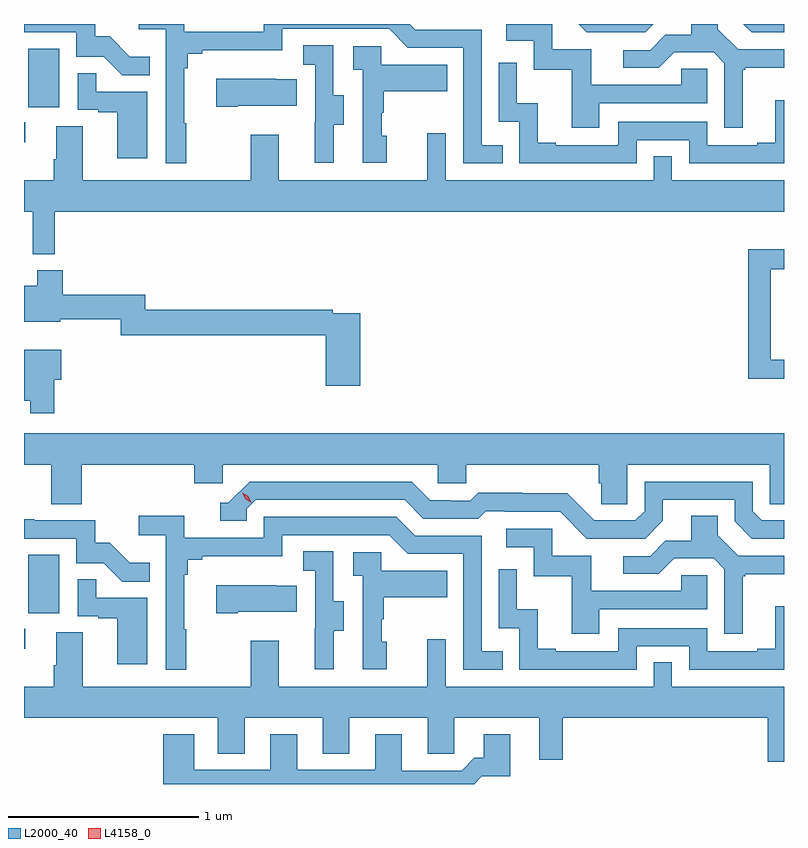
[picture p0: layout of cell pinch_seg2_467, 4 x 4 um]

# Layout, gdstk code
import gdstk
lib = gdstk.Library(unit=1e-6, precision=1e-09)
def R(c, l, rs):  # rectangles x0, y0, x1, y1
    for r in rs: c.add(gdstk.rectangle(r[:2], r[2:], *l))
def P(c, l, *ps):  # polygons
    for p in ps: c.add(gdstk.Polygon(p, *l))
L2000_40 = (2000, 40)
L4158_0 = (4158, 0)

pinch_seg2_467 = lib.new_cell('pinch_seg2_467')
R(pinch_seg2_467, L2000_40, [(920.764,590.724,920.77,590.829), (920.786,590.91,920.95,591.217), (920.764,593.388,920.77,593.493), (920.786,593.574,920.95,593.881)])
P(pinch_seg2_467, L2000_40, [(921.619,593.489),(921.607,593.489),(921.607,593.777),(921.626,593.777),(921.626,593.854),(921.703,593.854),(921.703,593.873),(922.122,593.873),(922.122,593.985),(922.686,593.985),(922.785,593.886),(923.076,593.886),(923.076,593.277),(923.285,593.277),(923.285,593.373),(923.172,593.373),(923.172,593.982),(922.822,593.982),(922.793,594.011),(922.026,594.011),(922.026,593.97),(921.608,593.97),(921.608,594.011),(921.369,594.011),(921.369,593.984),(921.51,593.984),(921.51,593.277),(921.619,593.277)],
  [(924.547,593.769),(924.559,593.769),(924.559,593.78),(924.764,593.78),(924.764,593.877),(924.522,593.877),(924.415,593.984),(924.415,594.011),(924.275,594.011),(924.275,593.954),(924.14,593.954),(924.06,593.874),(923.919,593.874),(923.919,593.781),(924.106,593.781),(924.187,593.862),(924.393,593.862),(924.45,593.805),(924.45,593.466),(924.547,593.466)],
  [(924.077,594.011),(923.683,594.011),(923.727,593.967),(924.033,593.967)],
  [(924.764,594.011),(924.55,594.011),(924.594,593.967),(924.764,593.967)],
  [(921.425,593.839),(921.321,593.839),(921.214,593.946),(921.138,593.946),(921.138,594.011),(920.764,594.011),(920.764,593.967),(921.039,593.967),(921.039,593.838),(921.183,593.838),(921.281,593.74),(921.425,593.74)],
  [(923.791,593.595),(924.36,593.595),(924.36,593.775),(924.223,593.775),(924.223,593.691),(923.749,593.691),(923.749,593.877),(923.544,593.877),(923.544,594.011),(923.301,594.011),(923.301,593.922),(923.448,593.922),(923.448,593.769),(923.647,593.769),(923.647,593.466),(923.791,593.466)],
  [(922.393,593.482),(922.447,593.482),(922.447,593.637),(922.392,593.637),(922.392,593.9),(922.233,593.9),(922.233,593.797),(922.296,593.797),(922.296,593.493),(922.295,593.493),(922.295,593.28),(922.393,593.28)],
  [(922.672,593.424),(922.647,593.424),(922.647,593.543),(922.657,593.543),(922.657,593.657),(922.991,593.657),(922.991,593.797),(922.644,593.797),(922.644,593.895),(922.497,593.895),(922.497,593.771),(922.548,593.771),(922.548,593.28),(922.672,593.28)],
  [(923.988,593.4),(924.264,593.4),(924.264,593.277),(924.764,593.277),(924.764,593.611),(924.719,593.611),(924.719,593.386),(924.623,593.386),(924.623,593.373),(924.36,593.373),(924.36,593.496),(923.892,593.496),(923.892,593.373),(923.563,593.373),(923.563,593.386),(923.468,593.386),(923.468,593.594),(923.358,593.594),(923.358,593.806),(923.262,593.806),(923.262,593.496),(923.37,593.496),(923.37,593.277),(923.988,593.277)],
  [(921.412,593.655),(921.143,593.655),(921.143,593.753),(921.048,593.753),(921.048,593.559),(921.155,593.559),(921.155,593.547),(921.254,593.547),(921.254,593.304),(921.412,593.304)],
  [(921.889,593.582),(922.199,593.582),(922.199,593.719),(922.091,593.719),(922.091,593.722),(921.777,593.722),(921.777,593.575),(921.889,593.575)],
  [(920.927,593.024),(924.764,593.024),(924.764,593.188),(924.174,593.188),(924.174,593.315),(924.078,593.315),(924.078,593.188),(922.983,593.188),(922.983,593.437),(922.886,593.437),(922.886,593.188),(922.105,593.188),(922.105,593.428),(921.958,593.428),(921.958,593.188),(921.073,593.188),(921.073,593.474),(920.933,593.474),(920.933,593.3),(920.921,593.3),(920.921,593.188),(920.764,593.188),(920.764,593.024),(920.81,593.024),(920.81,592.799),(920.927,592.799)],
  [(924.764,592.245),(924.693,592.245),(924.693,592.719),(924.764,592.719),(924.764,592.825),(924.577,592.825),(924.577,592.144),(924.764,592.144)],
  [(922.535,592.488),(922.388,592.488),(922.388,592.508),(921.401,592.508),(921.401,592.585),(920.969,592.585),(920.969,592.714),(920.834,592.714),(920.834,592.633),(920.764,592.633),(920.764,592.445),(920.956,592.445),(920.956,592.456),(921.273,592.456),(921.273,592.372),(922.352,592.372),(922.352,592.107),(922.535,592.107)],
  [(920.924,592.139),(920.959,592.139),(920.959,592.297),(920.764,592.297),(920.764,592.028),(920.796,592.028),(920.796,591.963),(920.924,591.963)],
  [(921.068,591.692),(921.659,591.692),(921.659,591.594),(921.81,591.594),(921.81,591.692),(922.941,591.692),(922.941,591.594),(923.091,591.594),(923.091,591.692),(923.789,591.692),(923.789,591.594),(923.803,591.594),(923.803,591.484),(923.94,591.484),(923.94,591.692),(924.69,591.692),(924.69,591.484),(924.764,591.484),(924.764,591.856),(920.764,591.856),(920.764,591.692),(920.908,591.692),(920.908,591.484),(921.068,591.484)],
  [(924.127,591.397),(924.127,591.507),(924.504,591.507),(924.504,591.393),(924.594,591.303),(924.764,591.303),(924.764,591.399),(924.648,591.399),(924.6,591.447),(924.6,591.603),(924.03,591.603),(924.03,591.447),(923.982,591.399),(923.766,591.399),(923.624,591.541),(923.388,591.541),(923.388,591.544),(923.155,591.544),(923.113,591.501),(923.01,591.501),(923.01,591.504),(922.903,591.504),(922.804,591.603),(921.951,591.603),(921.84,591.492),(921.797,591.492),(921.797,591.396),(921.936,591.396),(921.936,591.459),(921.984,591.507),(922.767,591.507),(922.866,591.408),(923.155,591.408),(923.194,591.447),(923.293,591.447),(923.293,591.444),(923.586,591.444),(923.727,591.303),(924.033,591.303)],
  [(924.547,591.105),(924.559,591.105),(924.559,591.116),(924.764,591.116),(924.764,591.213),(924.522,591.213),(924.415,591.32),(924.415,591.422),(924.275,591.422),(924.275,591.29),(924.14,591.29),(924.06,591.21),(923.919,591.21),(923.919,591.117),(924.106,591.117),(924.187,591.198),(924.393,591.198),(924.45,591.141),(924.45,590.802),(924.547,590.802)],
  [(921.619,590.825),(921.607,590.825),(921.607,591.113),(921.626,591.113),(921.626,591.19),(921.703,591.19),(921.703,591.209),(922.122,591.209),(922.122,591.321),(922.686,591.321),(922.785,591.222),(923.076,591.222),(923.076,590.613),(923.285,590.613),(923.285,590.709),(923.172,590.709),(923.172,591.318),(922.822,591.318),(922.723,591.417),(922.026,591.417),(922.026,591.306),(921.608,591.306),(921.608,591.422),(921.369,591.422),(921.369,591.32),(921.51,591.32),(921.51,590.613),(921.619,590.613)],
  [(921.425,591.175),(921.321,591.175),(921.214,591.282),(921.138,591.282),(921.138,591.399),(920.819,591.399),(920.819,591.404),(920.764,591.404),(920.764,591.303),(921.039,591.303),(921.039,591.174),(921.183,591.174),(921.281,591.076),(921.425,591.076)],
  [(923.791,590.931),(924.36,590.931),(924.36,591.111),(924.223,591.111),(924.223,591.027),(923.749,591.027),(923.749,591.213),(923.544,591.213),(923.544,591.354),(923.301,591.354),(923.301,591.258),(923.448,591.258),(923.448,591.105),(923.647,591.105),(923.647,590.802),(923.791,590.802)],
  [(922.393,590.818),(922.447,590.818),(922.447,590.973),(922.392,590.973),(922.392,591.236),(922.233,591.236),(922.233,591.133),(922.296,591.133),(922.296,590.829),(922.295,590.829),(922.295,590.616),(922.393,590.616)],
  [(922.672,590.76),(922.647,590.76),(922.647,590.879),(922.657,590.879),(922.657,590.993),(922.991,590.993),(922.991,591.133),(922.644,591.133),(922.644,591.231),(922.497,591.231),(922.497,591.107),(922.548,591.107),(922.548,590.616),(922.672,590.616)],
  [(923.988,590.736),(924.264,590.736),(924.264,590.613),(924.764,590.613),(924.764,590.947),(924.719,590.947),(924.719,590.722),(924.623,590.722),(924.623,590.709),(924.36,590.709),(924.36,590.832),(923.892,590.832),(923.892,590.709),(923.563,590.709),(923.563,590.722),(923.468,590.722),(923.468,590.93),(923.358,590.93),(923.358,591.142),(923.262,591.142),(923.262,590.832),(923.37,590.832),(923.37,590.613),(923.988,590.613)],
  [(921.412,590.991),(921.143,590.991),(921.143,591.089),(921.048,591.089),(921.048,590.895),(921.155,590.895),(921.155,590.883),(921.254,590.883),(921.254,590.64),(921.412,590.64)],
  [(921.889,590.918),(922.199,590.918),(922.199,591.055),(922.091,591.055),(922.091,591.058),(921.777,591.058),(921.777,590.911),(921.889,590.911)],
  [(924.764,590.524),(924.174,590.524),(924.174,590.651),(924.078,590.651),(924.078,590.524),(922.983,590.524),(922.983,590.773),(922.886,590.773),(922.886,590.524),(922.105,590.524),(922.105,590.764),(921.958,590.764),(921.958,590.524),(921.073,590.524),(921.073,590.81),(920.933,590.81),(920.933,590.636),(920.921,590.636),(920.921,590.524),(920.764,590.524),(920.764,590.36),(921.785,590.36),(921.785,590.17),(921.925,590.17),(921.925,590.36),(922.337,590.36),(922.337,590.17),(922.477,590.17),(922.477,590.36),(922.889,590.36),(922.889,590.17),(923.028,590.17),(923.028,590.36),(923.477,590.36),(923.477,590.139),(923.599,590.139),(923.599,590.36),(924.679,590.36),(924.679,590.127),(924.764,590.127)],
  [(923.174,590.051),(923.323,590.051),(923.323,590.272),(923.183,590.272),(923.183,590.149),(923.134,590.149),(923.067,590.082),(922.753,590.082),(922.753,590.272),(922.613,590.272),(922.613,590.085),(922.201,590.085),(922.201,590.272),(922.061,590.272),(922.061,590.085),(921.661,590.085),(921.661,590.272),(921.497,590.272),(921.497,590.011),(923.134,590.011)])
P(pinch_seg2_467, L4158_0, [(921.959,591.492),(921.928,591.512),(921.912,591.545),(921.912,591.545),(921.912,591.545),(921.943,591.525),(921.96,591.493),(921.96,591.492)])

lib.write_gds('pinch_seg2_467.gds')
